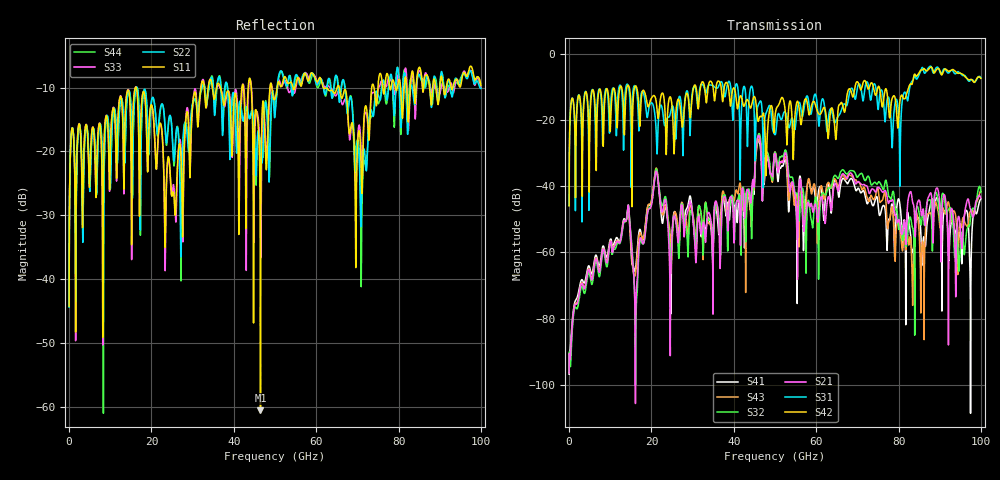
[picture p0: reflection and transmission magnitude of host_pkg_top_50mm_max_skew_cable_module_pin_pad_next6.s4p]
# Hz S RI R 50
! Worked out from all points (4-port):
!   10000 points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, 10 MHz to 100 GHz, reference 50 ohm
!   strongest paths, dB at 10 MHz, 25.01 GHz, 50.01 GHz, 75.01 GHz, 100 GHz:
!     S42: -45.9, -16.0, -18.9, -10.1, -7.5
!     S31: -45.8, -15.9, -24.5, -16.8, -7.3
!     S21: -96.3, -54.5, -30.1, -40.3, -43.5
!     S32: -95.9, -56.0, -29.7, -38.9, -41.9
!     S43: -96.3, -57.4, -29.7, -40.8, -41.5
!     S41: -96.8, -55.2, -30.3, -45.2, -43.8
!   lowest |S11| = -60.5 dB at 46.48 GHz (marker M1), VSWR 1.00, Z = 50.1 - j0.0534 ohm
!   |S11| at or under -10 dB: start of sweep to 16.11 GHz; 16.32 GHz to 32.01 GHz (15.69 GHz wide, 64.9 % of centre); 65.62 GHz to 73.49 GHz (7.875 GHz wide, 11.3 % of centre)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
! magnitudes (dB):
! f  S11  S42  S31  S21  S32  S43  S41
! 10 MHz  -44.3  -45.9  -45.8  -96.3  -95.9  -96.3  -96.8
! 14.22 GHz  -10.4  -9.6  -9.3  -46.8  -46.9  -47.3  -47.2
! 16.24 GHz  -9.9  -9.8  -10.4  -75.9  -81.6  -65.3  -64.0
! 21.08 GHz  -22.2  -13.9  -21.8  -35.7  -35.0  -34.6  -35.3
! 46.48 GHz  -60.5  -18.9  -14.3  -27.1  -25.5  -26.9  -28.5
! 85.79 GHz  -9.7  -4.9  -4.1  -47.7  -48.4  -56.6  -61.8
! 100 GHz  -9.7  -7.5  -7.3  -43.5  -41.9  -41.5  -43.8
